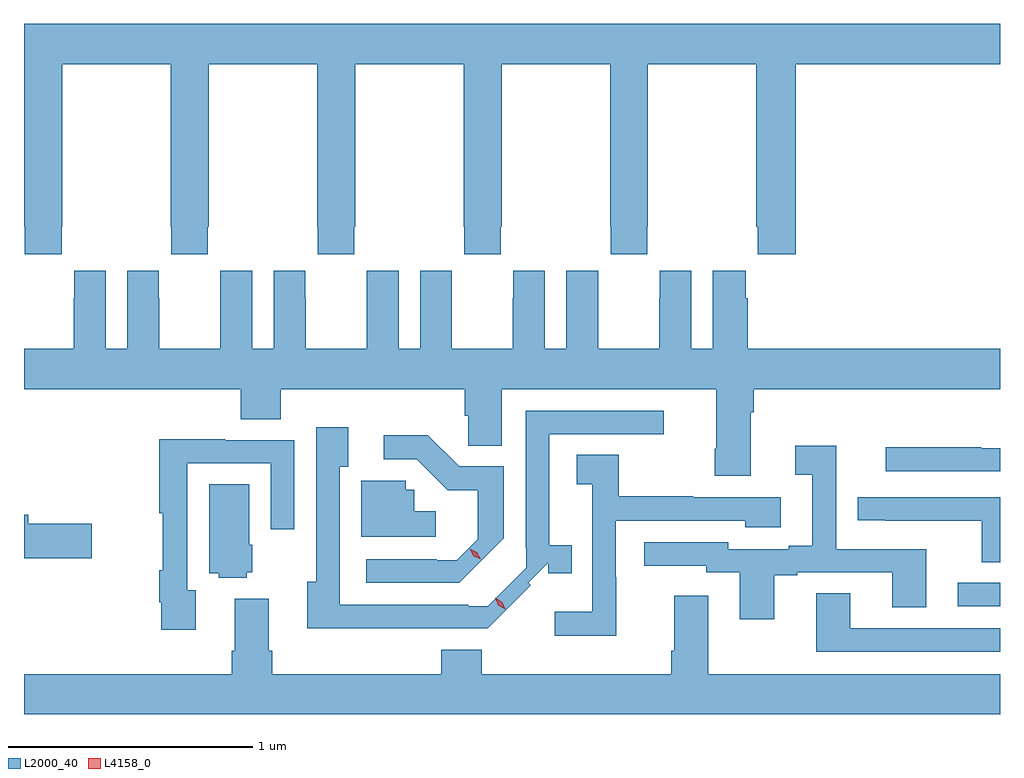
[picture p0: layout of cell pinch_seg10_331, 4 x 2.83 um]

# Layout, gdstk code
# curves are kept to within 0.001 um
import gdstk
lib = gdstk.Library(unit=1e-6, precision=1e-09)
def R(c, l, rs):  # rectangles x0, y0, x1, y1
    for r in rs: c.add(gdstk.rectangle(r[:2], r[2:], *l))
def P(c, l, *ps):  # polygons
    for p in ps: c.add(gdstk.Polygon(p, *l))
L2000_40 = (2000, 40)
L4158_0 = (4158, 0)

pinch_seg10_331 = lib.new_cell('pinch_seg10_331')
R(pinch_seg10_331, L2000_40, [(400.383,1255.47,400.557,1255.566)])
P(pinch_seg10_331, L2000_40, [(396.557,1257.692),(396.559,1257.692),(396.559,1257.025),(396.561,1257.025),(396.561,1256.913),(396.711,1256.913),(396.711,1257.025),(396.714,1257.025),(396.714,1257.692),(397.159,1257.692),(397.159,1257.025),(397.161,1257.025),(397.161,1256.913),(397.311,1256.913),(397.311,1257.025),(397.314,1257.025),(397.314,1257.692),(397.759,1257.692),(397.759,1257.025),(397.761,1257.025),(397.761,1256.913),(397.911,1256.913),(397.911,1257.025),(397.914,1257.025),(397.914,1257.692),(398.359,1257.692),(398.359,1257.025),(398.361,1257.025),(398.361,1256.913),(398.511,1256.913),(398.511,1257.025),(398.514,1257.025),(398.514,1257.692),(398.959,1257.692),(398.959,1257.025),(398.961,1257.025),(398.961,1256.913),(399.111,1256.913),(399.111,1257.025),(399.114,1257.025),(399.114,1257.692),(399.559,1257.692),(399.559,1257.025),(399.565,1257.025),(399.565,1256.913),(399.719,1256.913),(399.719,1257.692),(400.557,1257.692),(400.557,1257.856),(396.557,1257.856)],
  [(398.363,1256.25),(398.377,1256.25),(398.377,1256.128),(398.515,1256.128),(398.515,1256.36),(399.395,1256.36),(399.395,1256.116),(399.388,1256.116),(399.388,1256.004),(399.535,1256.004),(399.535,1256.264),(399.548,1256.264),(399.548,1256.36),(400.557,1256.36),(400.557,1256.524),(399.524,1256.524),(399.524,1256.732),(399.514,1256.732),(399.514,1256.845),(399.38,1256.845),(399.38,1256.524),(399.292,1256.524),(399.292,1256.845),(399.162,1256.845),(399.162,1256.732),(399.161,1256.732),(399.161,1256.524),(398.911,1256.524),(398.911,1256.732),(398.91,1256.732),(398.91,1256.845),(398.78,1256.845),(398.78,1256.524),(398.692,1256.524),(398.692,1256.845),(398.562,1256.845),(398.562,1256.732),(398.561,1256.732),(398.561,1256.524),(398.311,1256.524),(398.311,1256.732),(398.31,1256.732),(398.31,1256.845),(398.18,1256.845),(398.18,1256.524),(398.092,1256.524),(398.092,1256.845),(397.962,1256.845),(397.962,1256.732),(397.961,1256.732),(397.961,1256.524),(397.711,1256.524),(397.711,1256.732),(397.71,1256.732),(397.71,1256.845),(397.58,1256.845),(397.58,1256.524),(397.492,1256.524),(397.492,1256.845),(397.362,1256.845),(397.362,1256.732),(397.361,1256.732),(397.361,1256.524),(397.111,1256.524),(397.111,1256.732),(397.11,1256.732),(397.11,1256.845),(396.98,1256.845),(396.98,1256.524),(396.892,1256.524),(396.892,1256.845),(396.762,1256.845),(396.762,1256.732),(396.761,1256.732),(396.761,1256.524),(396.557,1256.524),(396.557,1256.36),(397.445,1256.36),(397.445,1256.236),(397.61,1256.236),(397.61,1256.36),(398.363,1256.36)],
  [(398.183,1255.38),(398.458,1255.38),(398.633,1255.555),(398.624,1255.565),(398.706,1255.647),(398.706,1255.605),(398.801,1255.605),(398.801,1255.72),(398.71,1255.72),(398.71,1256.175),(399.178,1256.175),(399.178,1256.271),(398.613,1256.271),(398.613,1255.712),(398.616,1255.712),(398.616,1255.628),(398.458,1255.47),(398.377,1255.47),(398.377,1255.476),(397.851,1255.476),(397.851,1256.042),(397.885,1256.042),(397.885,1256.203),(397.755,1256.203),(397.755,1255.57),(397.718,1255.57),(397.718,1255.379)],
  [(398.523,1255.749),(398.523,1256.043),(398.34,1256.043),(398.212,1256.171),(398.031,1256.171),(398.031,1256.073),(398.166,1256.073),(398.294,1255.946),(398.417,1255.946),(398.417,1255.745),(398.331,1255.659),(398.248,1255.659),(398.248,1255.662),(397.959,1255.662),(397.959,1255.566),(398.34,1255.566)],
  [(397.261,1255.535),(397.227,1255.535),(397.227,1256.055),(397.569,1256.055),(397.569,1255.785),(397.665,1255.785),(397.665,1256.151),(397.381,1256.151),(397.381,1256.155),(397.111,1256.155),(397.111,1255.851),(397.126,1255.851),(397.126,1255.618),(397.111,1255.618),(397.111,1255.486),(397.119,1255.486),(397.119,1255.374),(397.261,1255.374)],
  [(399.631,1255.596),(399.727,1255.596),(399.727,1255.608),(400.115,1255.608),(400.115,1255.465),(400.255,1255.465),(400.255,1255.704),(399.885,1255.704),(399.885,1256.128),(399.717,1256.128),(399.717,1256.008),(399.788,1256.008),(399.788,1255.717),(399.692,1255.717),(399.692,1255.704),(399.444,1255.704),(399.444,1255.731),(399.099,1255.731),(399.099,1255.635),(399.354,1255.635),(399.354,1255.608),(399.491,1255.608),(399.491,1255.416),(399.631,1255.416)],
  [(400.557,1256.118),(400.481,1256.118),(400.481,1256.121),(400.089,1256.121),(400.089,1256.022),(400.557,1256.022)],
  [(398.985,1255.589),(398.982,1255.589),(398.982,1255.821),(399.513,1255.821),(399.513,1255.793),(399.658,1255.793),(399.658,1255.917),(399.299,1255.917),(399.299,1255.92),(398.995,1255.92),(398.995,1256.09),(398.823,1256.09),(398.823,1255.969),(398.886,1255.969),(398.886,1255.447),(398.733,1255.447),(398.733,1255.349),(398.985,1255.349)],
  [(398.245,1255.858),(398.157,1255.858),(398.157,1255.947),(398.121,1255.947),(398.121,1255.983),(397.94,1255.983),(397.94,1255.754),(398.245,1255.754)],
  [(397.47,1255.608),(397.492,1255.608),(397.492,1255.722),(397.48,1255.722),(397.48,1255.97),(397.316,1255.97),(397.316,1255.604),(397.356,1255.604),(397.356,1255.586),(397.47,1255.586)],
  [(400.557,1255.917),(399.975,1255.917),(399.975,1255.822),(400.087,1255.822),(400.087,1255.821),(400.483,1255.821),(400.483,1255.651),(400.557,1255.651)],
  [(396.835,1255.808),(396.574,1255.808),(396.574,1255.844),(396.557,1255.844),(396.557,1255.666),(396.835,1255.666)],
  [(400.557,1255.38),(399.943,1255.38),(399.943,1255.523),(399.803,1255.523),(399.803,1255.284),(400.557,1255.284)],
  [(400.557,1255.192),(399.361,1255.192),(399.361,1255.513),(399.221,1255.513),(399.221,1255.288),(399.209,1255.288),(399.209,1255.192),(398.432,1255.192),(398.432,1255.291),(398.267,1255.291),(398.267,1255.192),(397.574,1255.192),(397.574,1255.288),(397.561,1255.288),(397.561,1255.501),(397.421,1255.501),(397.421,1255.288),(397.409,1255.288),(397.409,1255.192),(396.557,1255.192),(396.557,1255.028),(400.557,1255.028)])
P(pinch_seg10_331, L4158_0, [(398.529,1255.457),(398.501,1255.474),(398.489,1255.504),(398.489,1255.504),(398.489,1255.504),(398.517,1255.487),(398.529,1255.457),(398.529,1255.457)],
  [(398.428,1255.663),(398.399,1255.677),(398.383,1255.705),(398.383,1255.705),(398.384,1255.705),(398.412,1255.691),(398.428,1255.663),(398.428,1255.663)])

lib.write_gds('pinch_seg10_331.gds')
